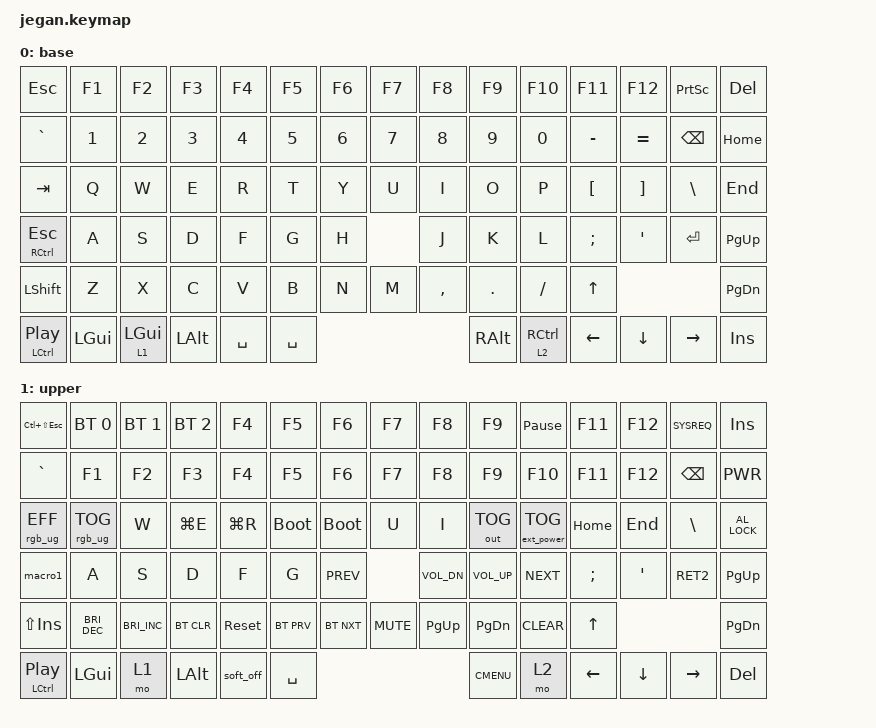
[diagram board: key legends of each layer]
// This file was generated from a template. Edit it to match your keyboard.
// See https://zmk.dev/docs/development/hardware-integration/new-shield for more instructions.

#include <behaviors.dtsi>
#include <dt-bindings/zmk/keys.h>
#include <dt-bindings/zmk/rgb.h>
#include <dt-bindings/zmk/bt.h>
#include <dt-bindings/zmk/outputs.h>
#include <dt-bindings/zmk/ext_power.h>
#include "macros.dtsi"

/ {
    // Define a default keymap here.
    // See https://zmk.dev/docs/development/hardware-integration/new-shield#default-keymap.
    keymap {
        compatible = "zmk,keymap";

        default_layer {
            display-name = "base";
            bindings = <
                &kp ESC        &kp F1   &kp F2     &kp F3   &kp F4 &kp F5 &kp F6      &kp F7 &kp F8    &kp F9      &kp F10   &kp F11   &kp F12   &kp PSCRN &kp DEL
                &kp GRAVE      &kp N1   &kp N2     &kp N3   &kp N4 &kp N5 &kp N6      &kp N7 &kp N8    &kp N9      &kp N0    &kp MINUS &kp EQUAL &kp BSPC  &kp HOME
                &kp TAB        &kp Q    &kp W      &kp E    &kp R  &kp T        &kp Y &kp U  &kp I     &kp O       &kp P     &kp LBKT  &kp RBKT  &kp BSLH  &kp END
                &mt RCTRL ESC  &kp A    &kp S      &kp D    &kp F  &kp G        &kp H &kp J  &kp K     &kp L       &kp SEMI  &kp SQT   &kp RET             &kp PG_UP
                &kp LSHFT      &kp Z    &kp X      &kp C    &kp V  &kp B        &kp N &kp M  &kp COMMA &kp DOT     &kp FSLH  &kp UP                        &kp PG_DN
                &mt LCTRL C_PP &kp LGUI &lt 1 LGUI &kp LALT &kp SPACE           &kp SPACE    &kp RALT  &lt 2 RCTRL &kp LEFT  &kp DOWN  &kp RIGHT           &kp INS
            >;
        };

        upper_layer {
            display-name = "upper";
            bindings = <
                &kp LC(LS(ESC)) &bt BT_SEL 0    &bt BT_SEL 1  &bt BT_SEL 2 &kp F4     &kp F5  &kp F6             &kp F7       &kp F8       &kp F9       &kp PAUSE_BREAK   &kp F11   &kp F12  &kp SYSREQ &kp INS
                &kp GRAVE       &kp F1          &kp F2        &kp F3       &kp F4     &kp F5  &kp F6             &kp F7       &kp F8       &kp F9       &kp F10           &kp F11   &kp F12  &kp BSPC   &kp C_PWR
                &rgb_ug RGB_EFF &rgb_ug RGB_TOG &kp W         &kp LG(E)    &kp LG(R)  &bootloader    &bootloader &kp U        &kp I        &out OUT_TOG &ext_power EP_TOG &kp HOME  &kp END  &kp BSLH   &kp C_AL_LOCK
                &macro1         &kp A           &kp S         &kp D        &kp F      &kp G          &kp C_PREV  &kp C_VOL_DN &kp C_VOL_UP &kp C_NEXT   &kp SEMI          &kp SQT   &kp RET2            &kp PG_UP
                &kp LS(INS)     &kp C_BRI_DEC   &kp C_BRI_INC &bt BT_CLR   &sys_reset &bt BT_PRV     &bt BT_NXT  &kp C_MUTE   &kp PG_UP    &kp PG_DN    &kp CLEAR         &kp UP                        &kp PG_DN
                &mt LCTRL C_PP  &kp LGUI        &mo 1         &kp LALT     &soft_off                 &kp SPACE                &kp K_CMENU  &mo 2        &kp LEFT          &kp DOWN  &kp RIGHT           &kp DEL
            >;
        };
    };
};
